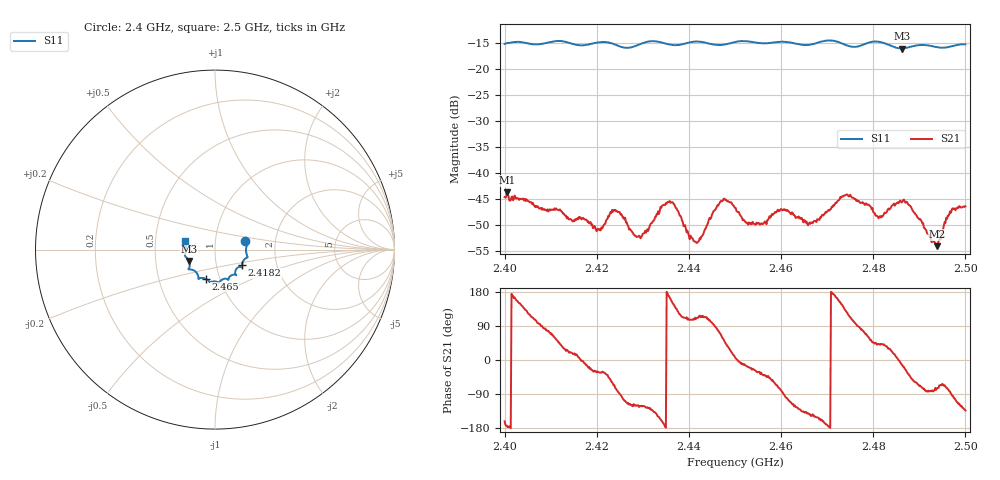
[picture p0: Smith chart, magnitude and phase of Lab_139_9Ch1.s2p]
# Hz S RI R 50
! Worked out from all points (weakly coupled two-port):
!   601 points, 2.4 GHz to 2.5 GHz, reference 50 ohm
!   highest |S21| = -43.65 dB at 2.4005 GHz (marker M1); lowest = -54.0 dB at 2.4938 GHz (marker M2)
!   lowest |S11| = -16.0 dB at 2.4862 GHz (marker M3), VSWR 1.37, Z = 37.1 - j4.81 ohm
!   |S11| at or under -10 dB: start of sweep to end of sweep
!   S12 and S22 are empty: the file has one direction only
!   S11 on the Smith chart (normalised r, x): 2.4 GHz: 1.40, +0.13; 2.4182 GHz: 1.33, -0.23; 2.465 GHz: 0.86, -0.29; 2.5 GHz: 0.71, +0.07
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2.4e9  0.1687 0.0459  -0.00561 -0.00185  0 0  0 0
2.4005e9  0.1724 0.0432  -0.00653 -0.000716  0 0  0 0
2.416667e9  0.1549 -0.0682  0.00361 -0.000153  0 0  0 0
2.418167e9  0.1497 -0.085  0.00325 -0.00119  0 0  0 0
2.420333e9  0.1509 -0.0996  0.00244 -0.00154  0 0  0 0
2.424167e9  0.1413 -0.096  0.00107 -0.00419  0 0  0 0
2.429167e9  0.1122 -0.1304  -0.00141 -0.00209  0 0  0 0
2.433333e9  0.1169 -0.1413  -0.00371 -0.0022  0 0  0 0
2.436333e9  0.0961 -0.1411  -0.00473 0.00239  0 0  0 0
2.441667e9  0.0741 -0.1688  -0.000741 0.00201  0 0  0 0
2.447167e9  0.0422 -0.1656  0.00263 0.00469  0 0  0 0
2.45e9  0.0251 -0.1807  0.00462 0.000567  0 0  0 0
2.452833e9  0.0186 -0.1837  0.00304 -0.00103  0 0  0 0
2.460333e9  -0.0286 -0.1811  0.000358 -0.00439  0 0  0 0
2.465e9  -0.0528 -0.162  -0.00262 -0.00241  0 0  0 0
2.466667e9  -0.0714 -0.1575  -0.00277 -0.00191  0 0  0 0
2.474e9  -0.0957 -0.1417  -0.00402 0.0047  0 0  0 0
2.483333e9  -0.142 -0.0958  0.00394 0.00236  0 0  0 0
2.486167e9  -0.1446 -0.0632  0.00513 -0.00109  0 0  0 0
2.493833e9  -0.1623 -0.00997  0.000509 -0.00193  0 0  0 0
2.496667e9  -0.1627 0.0242  0.000481 -0.00428  0 0  0 0
2.5e9  -0.1668 0.0474  -0.00331 -0.00351  0 0  0 0
